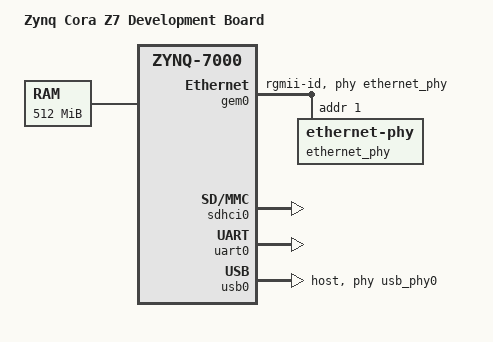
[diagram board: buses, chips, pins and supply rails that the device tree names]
// SPDX-License-Identifier: GPL-2.0+
/*
 * Digilent Cora Z7 board DTS
 *
 * Copyright (C) 2016 Digilent
 */
/dts-v1/;
#include "zynq-7000.dtsi"

/ {
	model = "Zynq Cora Z7 Development Board";
	compatible = "digilent,zynq-coraz7", "xlnx,zynq-7000";

	aliases {
		ethernet0 = &gem0;
		serial0 = &uart0;
		mmc0 = &sdhci0;
	};

	cpus {
		/delete-node/ cpu1;
	};

	memory@0 {
		device_type = "memory";
		reg = <0x0 0x20000000>;
	};

	chosen {
		bootargs = "console=ttyPS0,115200 earlyprintk";
		stdout-path = "serial0:115200n8";
	};

	usb_phy0: phy0@e0002000 {
		compatible = "ulpi-phy";
		#phy-cells = <0>;
		reg = <0xe0002000 0x1000>;
		view-port = <0x0170>;
		drv-vbus;
	};
};

&clkc {
	ps-clk-frequency = <50000000>;
};

&gem0 {
	status = "okay";
	phy-mode = "rgmii-id";
	phy-handle = <&ethernet_phy>;

	ethernet_phy: ethernet-phy@0 { /* rtl8211e-vl */
		reg = <1>;
	};
};

&sdhci0 {
	status = "okay";
};

&uart0 {
	status = "okay";
};

&usb0 {
	status = "okay";
	dr_mode = "host";
	usb-phy = <&usb_phy0>;
};
